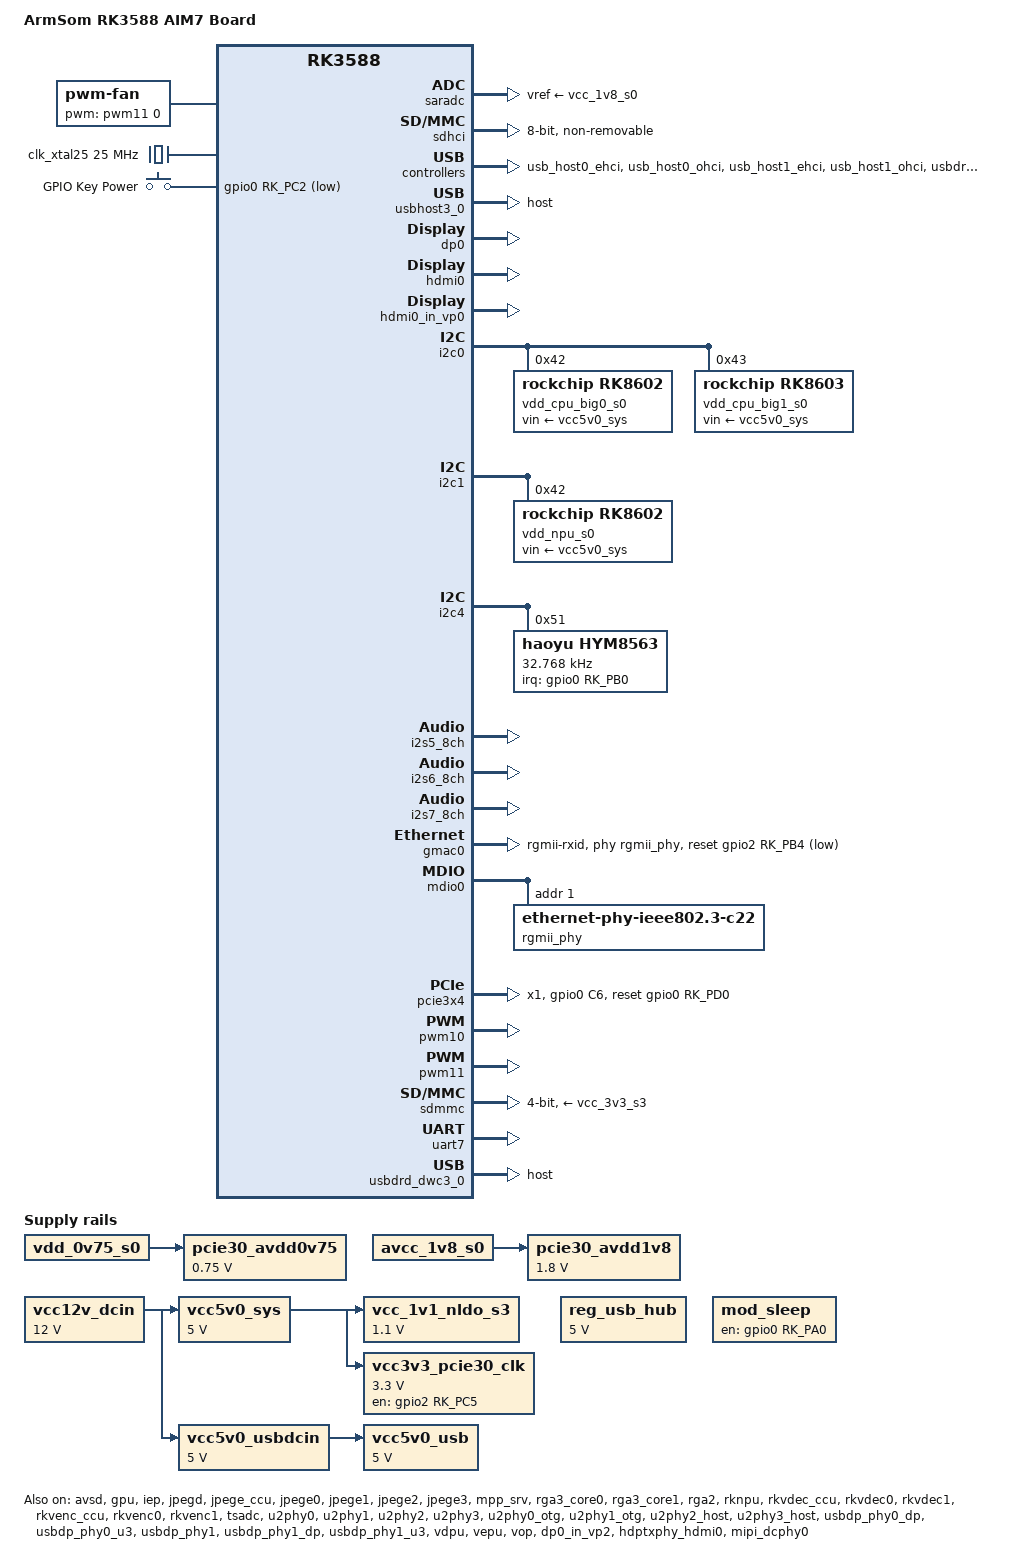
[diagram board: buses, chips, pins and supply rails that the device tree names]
// SPDX-License-Identifier: (GPL-2.0+ OR MIT)
/*
 * Copyright (c) 2023 Rockchip Electronics Co., Ltd.
 * Copyright (c) 2023 Rockchip rk3588-evb7-v11, Lhd.
 */

/dts-v1/;

#include <dt-bindings/gpio/gpio.h>
#include <dt-bindings/leds/common.h>
#include <dt-bindings/pwm/pwm.h>
#include <dt-bindings/pinctrl/rockchip.h>
#include <dt-bindings/input/rk-input.h>
#include <dt-bindings/display/drm_mipi_dsi.h>
#include <dt-bindings/display/rockchip_vop.h>
#include <dt-bindings/sensor-dev.h>
#include "dt-bindings/usb/pd.h"
#include "rk3588.dtsi"
#include "rk3588-rk806-single.dtsi"
#include "rk3588-armsom-aim7-camera.dtsi"
#include "rk3588-linux.dtsi"

/ {
	model = "ArmSom RK3588 AIM7 Board";
	compatible = "rockchip,rk3588-AIM7", "rockchip,rk3588";

	/delete-node/ chosen;
	vcc12v_dcin: vcc12v-dcin {
		compatible = "regulator-fixed";
		regulator-name = "vcc12v_dcin";
		regulator-always-on;
		regulator-boot-on;
		regulator-min-microvolt = <12000000>;
		regulator-max-microvolt = <12000000>;
	};

	vcc5v0_sys: vcc5v0-sys {
		compatible = "regulator-fixed";
		regulator-name = "vcc5v0_sys";
		regulator-always-on;
		regulator-boot-on;
		regulator-min-microvolt = <5000000>;
		regulator-max-microvolt = <5000000>;
		vin-supply = <&vcc12v_dcin>;
	};

	vcc5v0_usbdcin: vcc5v0-usbdcin {
		compatible = "regulator-fixed";
		regulator-name = "vcc5v0_usbdcin";
		regulator-always-on;
		regulator-boot-on;
		regulator-min-microvolt = <5000000>;
		regulator-max-microvolt = <5000000>;
		vin-supply = <&vcc12v_dcin>;
	};

	vcc5v0_usb: vcc5v0-usb {
		compatible = "regulator-fixed";
		regulator-name = "vcc5v0_usb";
		regulator-always-on;
		regulator-boot-on;
		regulator-min-microvolt = <5000000>;
		regulator-max-microvolt = <5000000>;
		vin-supply = <&vcc5v0_usbdcin>;
	};

		/* If hdmirx node is disabled, delete the reserved-memory node here. */
	reserved-memory {
		#address-cells = <2>;
		#size-cells = <2>;
		ranges;

		/* Reserve 128MB memory for hdmirx-controller@fdee0000 */
		cma {
			compatible = "shared-dma-pool";
			reusable;
			reg = <0x0 (256 * 0x100000) 0x0 (128 * 0x100000)>;
			linux,cma-default;
		};
	};


	fan: pwm-fan {
		compatible = "pwm-fan";
		#cooling-cells = <2>;
		pwms = <&pwm11 0 50000 0>;
		cooling-levels = <0 50 100 150 200 255>;
		rockchip,temp-trips = <
			50000	1
			55000	2
			60000	3
			65000	4
			70000	5
		>;
	};

	hdmi0_sound: hdmi0-sound {
		status = "okay";
		compatible = "rockchip,hdmi";
		rockchip,mclk-fs = <128>;
		rockchip,card-name = "rockchip-hdmi0";
		rockchip,cpu = <&i2s5_8ch>;
		rockchip,codec = <&hdmi0>;
		rockchip,jack-det;
	};

	dp0_sound: dp0-sound {
		status = "disabled";
		compatible = "rockchip,hdmi";
		rockchip,card-name= "rockchip-dp0";
		rockchip,mclk-fs = <512>;
		rockchip,cpu = <&spdif_tx2>;
		rockchip,codec = <&dp0 1>;
		rockchip,jack-det;
	};

	// leds: leds {
	// 	compatible = "gpio-leds";
	// 	work_led: work {
	// 		label = "red";
	// 		gpios = <&gpio4 RK_PC5 GPIO_ACTIVE_HIGH>;
	// 		linux,default-trigger = "heartbeat";
	// 	};

	// 	active_led: active {
	// 		label = "green";
	// 		gpios = <&gpio0 RK_PB7 GPIO_ACTIVE_HIGH>;
	// 		linux,default-trigger = "none";
	// 	};
	// };

    // es8316_sound: es8316-sound {
	// 	status = "okay";
	// 	compatible = "simple-audio-card";
	// 	simple-audio-card,format = "i2s";
	// 	simple-audio-card,mclk-fs = <256>;
	// 	simple-audio-card,name = "rockchip-es8316";
	// 	simple-audio-card,dai-link@0 {
	// 		format = "i2s";
	// 		cpu {
	// 			sound-dai = <&i2s0_8ch>;
	// 		};
	// 		codec {
	// 			sound-dai = <&es8316>;
	// 		};
	// 	};
	// };



	pcie30_avdd0v75: pcie30-avdd0v75 {
		compatible = "regulator-fixed";
		regulator-name = "pcie30_avdd0v75";
		regulator-boot-on;
		regulator-always-on;
		regulator-min-microvolt = <750000>;
		regulator-max-microvolt = <750000>;
		vin-supply = <&vdd_0v75_s0>;
	};

	pcie30_avdd1v8: pcie30-avdd1v8 {
		compatible = "regulator-fixed";
		regulator-name = "pcie30_avdd1v8";
		regulator-boot-on;
		regulator-always-on;
		regulator-min-microvolt = <1800000>;
		regulator-max-microvolt = <1800000>;
		vin-supply = <&avcc_1v8_s0>;
	};

	vcc_1v1_nldo_s3: vcc-1v1-nldo-s3 {
		compatible = "regulator-fixed";
		regulator-name = "vcc_1v1_nldo_s3";
		regulator-always-on;
		regulator-boot-on;
		regulator-min-microvolt = <1100000>;
		regulator-max-microvolt = <1100000>;
		vin-supply = <&vcc5v0_sys>;
	};

	// vbus5v0_typec: vbus5v0-typec {
	// 	compatible = "regulator-fixed";
	// 	regulator-name = "vbus5v0_typec";
	// 	regulator-min-microvolt = <5000000>;
	// 	regulator-max-microvolt = <5000000>;
	// 	enable-active-high;
	// 	gpio = <&gpio2 RK_PB6 GPIO_ACTIVE_HIGH>;
	// 	vin-supply = <&vcc5v0_sys>;
	// 	pinctrl-names = "default";
	// 	pinctrl-0 = <&typec5v_pwren>;
	// };

	vcc3v3_pcie30_clk: vcc3v3-pcie30 {
		compatible = "regulator-fixed";
		regulator-name = "vcc3v3_pcie30_clk";
		regulator-min-microvolt = <3300000>;
		regulator-max-microvolt = <3300000>;
		regulator-always-on;
		regulator-boot-on;
		enable-active-high;
		gpios = <&gpio2 RK_PC5 GPIO_ACTIVE_HIGH>;
		vin-supply = <&vcc5v0_sys>;
		pinctrl-names = "default";
		pinctrl-0 = <&vcc3v3_pcie30_clk_en>;
	};

	reg_usb_hub: regulator-usb-hub {
		compatible = "regulator-fixed";
		// pinctrl-names = "default";
		// pinctrl-0 = <&pinctrl_reg_usb_hub>;
		regulator-name = "USB_HUB";
		regulator-min-microvolt = <5000000>;
		regulator-max-microvolt = <5000000>;
		//gpio = <&gpio4 26 GPIO_ACTIVE_HIGH>;
		enable-active-high;
	};

	clk_xtal25: clk-xtal25 {
		compatible = "fixed-clock";
		#clock-cells = <0>;
		clock-frequency = <25000000>;
	};

		gpio-keys {
		compatible = "gpio-keys";
		#address-cells = <1>;
		#size-cells = <0>;
		autorepeat;

		pinctrl-names = "default";
		pinctrl-0 = <&pwrbtn>;

		button@0 {
			gpios = <&gpio0 RK_PC2 GPIO_ACTIVE_LOW>;
			linux,code = <KEY_POWER>;
			label = "GPIO Key Power";
			linux,input-type = <1>;
			gpio-key,wakeup = <1>;
			debounce-interval = <100>;
		};
	};

	mod_sleep: mod_sleep {   
		status = "okay";
		compatible = "regulator-fixed";
		regulator-name = "mod_sleep";
		pinctrl-names = "default";
	 	pinctrl-0 = <&mod_sleep_h>;
		gpio = <&gpio0 RK_PA0 GPIO_ACTIVE_HIGH>;
		regulator-always-on;
		regulator-boot-on;
		enable-active-high;
		regulator-state-mem {
			regulator-off-in-suspend;
		};
	};

};

//=============================================================

&av1d_mmu {
	status = "okay";
};

&avsd {
	status = "okay";
};

&cpu_l0 {
	cpu-supply = <&vdd_cpu_lit_s0>;
	mem-supply = <&vdd_cpu_lit_mem_s0>;
};

&cpu_b0 {
	cpu-supply = <&vdd_cpu_big0_s0>;
	mem-supply = <&vdd_cpu_big0_mem_s0>;
};

&cpu_b2 {
	cpu-supply = <&vdd_cpu_big1_s0>;
	mem-supply = <&vdd_cpu_big1_mem_s0>;
};


&gpu {
	mali-supply = <&vdd_gpu_s0>;
	mem-supply = <&vdd_gpu_mem_s0>;
	status = "okay";
};

// &i2s0_8ch {
// 	status = "okay";
// 	pinctrl-0 = <&i2s0_lrck
// 		     &i2s0_sclk
// 		     &i2s0_sdi0
// 		     &i2s0_sdo0>;
// };

&i2s2_2ch {
	pinctrl-0 = <&i2s2m1_lrck &i2s2m1_sclk &i2s2m1_sdi &i2s2m1_sdo>;
	rockchip,bclk-fs = <32>;
	status = "disabled";
};

&iep {
	status = "okay";
};

&iep_mmu {
	status = "okay";
};

&jpegd {
	status = "okay";
};

&jpegd_mmu {
	status = "okay";
};

&jpege_ccu {
	status = "okay";
};

&jpege0 {
	status = "okay";
};

&jpege0_mmu {
	status = "okay";
};

&jpege1 {
	status = "okay";
};

&jpege1_mmu {
	status = "okay";
};

&jpege2 {
	status = "okay";
};

&jpege2_mmu {
	status = "okay";
};

&jpege3 {
	status = "okay";
};

&jpege3_mmu {
	status = "okay";
};

&mpp_srv {
	status = "okay";
};

&rga3_core0 {
	status = "okay";
};

&rga3_0_mmu {
	status = "okay";
};

&rga3_core1 {
	status = "okay";
};

&rga3_1_mmu {
	status = "okay";
};

&rga2 {
	status = "okay";
};

&rknpu {
	rknpu-supply = <&vdd_npu_s0>;
	mem-supply = <&vdd_npu_mem_s0>;
	status = "okay";
};

&rknpu_mmu {
	status = "okay";
};

&rkvdec_ccu {
	status = "okay";
};

&rkvdec0 {
	status = "okay";
};

&rkvdec0_mmu {
	status = "okay";
};

&rkvdec1 {
	status = "okay";
};

&rkvdec1_mmu {
	status = "okay";
};

&rkvenc_ccu {
	status = "okay";
};

&rkvenc0 {
	venc-supply = <&vdd_vdenc_s0>;
	mem-supply = <&vdd_vdenc_mem_s0>;
	status = "okay";
};

&rkvenc0_mmu {
	status = "okay";
};

&rkvenc1 {
	venc-supply = <&vdd_vdenc_s0>;
	mem-supply = <&vdd_vdenc_mem_s0>;
	status = "okay";
};

&rkvenc1_mmu {
	status = "okay";
};

&rockchip_suspend {
	status = "okay";
	rockchip,sleep-debug-en = <1>;
};

&saradc {
	status = "okay";
	vref-supply = <&vcc_1v8_s0>;
};

&sdhci {
	bus-width = <8>;
	no-sdio;
	no-sd;
	non-removable;
	max-frequency = <200000000>;
	mmc-hs400-1_8v;
	mmc-hs400-enhanced-strobe;
	full-pwr-cycle-in-suspend;
	status = "okay";
};

&tsadc {
	status = "okay";
};

&u2phy0 {
	status = "okay";
};

&u2phy1 {
	status = "okay";
};

&u2phy2 {
	status = "okay";
};

&u2phy3 {
	status = "okay";
};

&u2phy0_otg {
	status = "okay";
};

&u2phy1_otg {
	status = "okay";
};

&u2phy2_host {
	status = "okay";
};

&u2phy3_host {
	status = "okay";
};

&usb_host0_ehci {
	status = "okay";
};

&usb_host0_ohci {
	status = "okay";
};

&usb_host1_ehci {
	status = "okay";
};

&usb_host1_ohci {
	status = "okay";
};

&usbdp_phy0_dp {
	status = "okay";
};

&usbdp_phy0_u3 {
	status = "okay";
};

&usbdp_phy1 {
	status = "okay";
};

&usbdp_phy1_dp {
	status = "okay";
};

&usbdp_phy1_u3 {
	status = "okay";
};

&usbdrd3_0 {
	status = "okay";
};

&usbhost3_0 {
	status = "okay";
};

&usbhost_dwc3_0 {
	status = "okay";
};

&usbdrd3_1 {
	status = "okay";
};

&usbdrd_dwc3_1 {
	status = "okay";
};

&vdpu {
	status = "okay";
};

&vdpu_mmu {
	status = "okay";
};

&vepu {
	status = "okay";
};

&vop {
	status = "okay";
};

&vop_mmu {
	status = "okay";
};

/* vp0 & vp1 splice for 8K output */
&vp0 {
	rockchip,plane-mask = <(1 << ROCKCHIP_VOP2_CLUSTER0 | 1 << ROCKCHIP_VOP2_ESMART0)>;
	rockchip,primary-plane = <ROCKCHIP_VOP2_ESMART0>;
};

&vp1 {
	rockchip,plane-mask = <(1 << ROCKCHIP_VOP2_CLUSTER1 | 1 << ROCKCHIP_VOP2_ESMART1)>;
	rockchip,primary-plane = <ROCKCHIP_VOP2_ESMART1>;
};

&vp2 {
	rockchip,plane-mask = <(1 << ROCKCHIP_VOP2_CLUSTER2 | 1 << ROCKCHIP_VOP2_ESMART2)>;
	rockchip,primary-plane = <ROCKCHIP_VOP2_ESMART2>;
};

&vp3 {
	rockchip,plane-mask = <(1 << ROCKCHIP_VOP2_CLUSTER3 | 1 << ROCKCHIP_VOP2_ESMART3)>;
	rockchip,primary-plane = <ROCKCHIP_VOP2_ESMART3>;
};

//=============================================================

// &dp0 {
// 	status = "disabled";
// };
&dp0 {
	pinctrl-names = "default";
	pinctrl-0 = <&dp0m2_pins>;
	status = "okay";
};
&dp0_in_vp2 {
	status = "okay";
};

&dp0_sound{
	status = "okay";
};

&route_dp0 {
	status = "disabled";
	connect = <&vp2_out_dp0>;
};



&hdmi0 {
	status = "okay";
};

&hdmi0_in_vp0 {
	status = "okay";
};

&hdmi0_sound {
	status = "okay";
};

&hdptxphy_hdmi0 {
	status = "okay";
};

&hdptxphy_hdmi1 {
	status = "disabled";
};

&i2c0 {
	status = "okay";
	pinctrl-names = "default";
	pinctrl-0 = <&i2c0m2_xfer>;

	vdd_cpu_big0_s0: vdd_cpu_big0_mem_s0: rk8602@42 {
		compatible = "rockchip,rk8602";
		reg = <0x42>;
		vin-supply = <&vcc5v0_sys>;
		regulator-compatible = "rk860x-reg";
		regulator-name = "vdd_cpu_big0_s0";
		regulator-min-microvolt = <550000>;
		regulator-max-microvolt = <1050000>;
		regulator-ramp-delay = <2300>;
		rockchip,suspend-voltage-selector = <1>;
		regulator-boot-on;
		regulator-always-on;
		regulator-state-mem {
			regulator-off-in-suspend;
		};
	};

	vdd_cpu_big1_s0: vdd_cpu_big1_mem_s0: rk8603@43 {
		compatible = "rockchip,rk8603";
		reg = <0x43>;
		vin-supply = <&vcc5v0_sys>;
		regulator-compatible = "rk860x-reg";
		regulator-name = "vdd_cpu_big1_s0";
		regulator-min-microvolt = <550000>;
		regulator-max-microvolt = <1050000>;
		regulator-ramp-delay = <2300>;
		rockchip,suspend-voltage-selector = <1>;
		regulator-boot-on;
		regulator-always-on;
		regulator-state-mem {
			regulator-off-in-suspend;
		};
	};
};

&i2c1 {
	status = "okay";
	pinctrl-names = "default";
	pinctrl-0 = <&i2c1m2_xfer>;

	vdd_npu_s0: vdd_npu_mem_s0: rk8602@42 {
		compatible = "rockchip,rk8602";
		reg = <0x42>;
		vin-supply = <&vcc5v0_sys>;
		regulator-compatible = "rk860x-reg";
		regulator-name = "vdd_npu_s0";
		regulator-min-microvolt = <550000>;
		regulator-max-microvolt = <950000>;
		regulator-ramp-delay = <2300>;
		rockchip,suspend-voltage-selector = <1>;
		regulator-boot-on;
		regulator-always-on;
		regulator-state-mem {
			regulator-off-in-suspend;
		};
	};
};

&i2c4 {//J49
	status = "okay";
	pinctrl-names = "default";
	pinctrl-0 = <&i2c4m2_xfer>;
	// #address-cells = <1>;
    // #size-cells = <0>;
	hym8563: hym8563@51 {
		compatible = "haoyu,hym8563";
		reg = <0x51>;
		#clock-cells = <0>;
		clock-frequency = <32768>;
		clock-output-names = "hym8563";
		pinctrl-names = "default";
		pinctrl-0 = <&hym8563_int>;
		interrupt-parent = <&gpio0>;
		interrupts = <RK_PB0 IRQ_TYPE_LEVEL_LOW>;
	};
};

&i2s5_8ch {
	status = "okay";
};

&i2s6_8ch {
	status = "okay";
};

&i2s7_8ch {
	status = "okay";
};

// &mdio1 {
// 	rgmii_phy: phy@1 {
// 		compatible = "ethernet-phy-ieee802.3-c22";
// 		reg = <0x1>;
// 	};
// };

&mipi_dcphy0 {
	status = "okay";
};

&mipi_dcphy1 {
	status = "disabled";
};

&gmac0 {
	/* Use rgmii-rxid mode to disable rx delay inside Soc */
	phy-mode = "rgmii-rxid";
	clock_in_out = "output";

	snps,reset-gpio = <&gpio2 RK_PB4 GPIO_ACTIVE_LOW>;
	snps,reset-active-low;
	/* Reset time is 20ms, 100ms for rtl8211f */
	snps,reset-delays-us = <0 20000 100000>;

	pinctrl-names = "default";
	pinctrl-0 = <&gmac0_miim
		     &gmac0_tx_bus2
		     &gmac0_rx_bus2
		     &gmac0_rgmii_clk
		     &gmac0_rgmii_bus>;

	tx_delay = <0x43>;
	/* rx_delay = <0x3f>; */

	phy-handle = <&rgmii_phy>;
	status = "okay";
};


&mdio0 {
	rgmii_phy: phy@1 {
		compatible = "ethernet-phy-ieee802.3-c22";
		reg = <0x1>;
	};
};

// &combphy0_ps {
// 	status = "okay";
// };

&combphy2_psu {
	status = "okay";
};

// &pcie2x1l2 {
//  	reset-gpios = <&gpio3 RK_PD1 GPIO_ACTIVE_HIGH>;
//  	rockchip,init-delay-ms = <100>;
//  	status = "okay";	
//  };

// &pcie2x1l0 {
// 	phys = <&pcie30phy>;
// 	vpcie3v3-supply = <&vcc3v3_pcie30>;
// 	status = "okay";
// };
// &pcie2x1l1 {
// 	phys = <&pcie30phy>;
// 	vpcie3v3-supply = <&vcc3v3_pcie30>;
// 	status = "okay";
// };

&pcie30phy {
 	rockchip,pcie30-phymode = <PHY_MODE_PCIE_NABIBI>;
 	status = "okay";
 };

//  //表示lane2/3
// &pcie3x2 {
// 	num-lanes = <1>;
// 	vpcie3v3-supply = <&vcc3v3_pcie30>;
// 	status = "okay";
// };
//表示lane0/1
&pcie3x4 {
	num-lanes = <1>;
	reset-gpios = <&gpio0 RK_PD0 GPIO_ACTIVE_HIGH>;
	pinctrl-names = "default";
 	pinctrl-0 = <&pcie30x4_clkreqn_m1>;
	status = "okay";
};

&pinctrl {
	pcie30x4 {
		pcie30x4_clkreqn_m1: pcie30x4-clkreqn-m1 {
			rockchip,pins = <0 RK_PC6 RK_FUNC_GPIO &pcfg_pull_down>;
		};
	};
	cam {
		mipicsi0_pwr: mipicsi0-pwr {
			rockchip,pins =
				/* camera power en */
				<1 RK_PD2 RK_FUNC_GPIO &pcfg_pull_none>;
		};
		mipicsi1_pwr: mipicsi1-pwr {
			rockchip,pins =
				/* camera power en */
				<1 RK_PD3 RK_FUNC_GPIO &pcfg_pull_none>;
		};
		mipidcphy0_pwr: mipidcphy0-pwr {
			rockchip,pins =
				/* camera power en */
				<2 RK_PC4 RK_FUNC_GPIO &pcfg_pull_none>;
		};
	};

	hym8563 {
		hym8563_int: hym8563-int {
			rockchip,pins = <0 RK_PB0 RK_FUNC_GPIO &pcfg_pull_up>;
		};
	};

	buttons {
		pwrbtn: pwrbtn {
			rockchip,pins = <0 RK_PC2 RK_FUNC_GPIO &pcfg_pull_up>;
		};
	};

	gpio {
		mod_sleep_h: mod-sleep-h {
			rockchip,pins = <0 RK_PA0 RK_FUNC_GPIO &pcfg_pull_none>;
		};
	};
	vcc3v3_pcie30_clk_en: vcc3v3-pcie30-clk-en {
		rockchip,pins = <2 RK_PC5 RK_FUNC_GPIO &pcfg_pull_none>;
	};
	// sdio-pwrseq {
	// 	wifi_enable_h: wifi-enable-h {
	// 		rockchip,pins = <0 RK_PC4 RK_FUNC_GPIO &pcfg_pull_none>;
	// 	};
	// };

	sdmmc {
		sd_s0_pwr: sd-s0-pwr {
			rockchip,pins = <0 RK_PB7 RK_FUNC_GPIO &pcfg_pull_up>;
		};
	};

	touch {
		touch_gpio: touch-gpio {
			rockchip,pins =
				<3 RK_PC1 RK_FUNC_GPIO &pcfg_pull_down>,
				<3 RK_PC0 RK_FUNC_GPIO &pcfg_pull_up>;
		};
	};

	usb-typec {
		usbc0_int: usbc0-int {
			rockchip,pins = <3 RK_PB4 RK_FUNC_GPIO &pcfg_pull_up>;
		};

		typec5v_pwren: typec5v-pwren {
			rockchip,pins = <2 RK_PB6 RK_FUNC_GPIO &pcfg_pull_none>;
		};
	};

	wireless-bluetooth {
		uart6_gpios: uart6-gpios {
			rockchip,pins = <1 RK_PA2 RK_FUNC_GPIO &pcfg_pull_none>;
		};
	};

	wireless-wlan {
		wifi_host_wake_irq: wifi-host-wake-irq {
			rockchip,pins = <0 RK_PB2 RK_FUNC_GPIO &pcfg_pull_down>;
		};
	};

};

&pwm10 {
	status = "okay";
};

&pwm11 {
	status = "okay";
};

&pwm3 {
	pinctrl-0 = <&pwm3m1_pins>;
	status = "disabled";
};

// &route_dsi0 {
// 	status = "disabled";
// 	connect = <&vp3_out_dsi0>;
// };

// &route_dsi1 {
// 	status = "disabled";
// 	connect = <&vp3_out_dsi1>;
// };

&route_hdmi0 {
	status = "okay";
};


// &leds {
// 	status = "okay";
// };


&sdhci {
	bus-width = <8>;
	no-sdio;
	no-sd;
	non-removable;
	max-frequency = <200000000>;
	mmc-hs400-1_8v;
	status = "okay";
};

// &sdio {
// 	max-frequency = <150000000>;
// 	supports-sdio;
// 	bus-width = <4>;
// 	disable-wp;
// 	cap-sd-highspeed;
// 	cap-sdio-irq;
// 	keep-power-in-suspend;
// 	mmc-pwrseq = <&sdio_pwrseq>;
// 	non-removable;
// 	num-slots = <1>;
// 	pinctrl-names = "default";
// 	pinctrl-0 = <&sdiom0_pins>;
// 	sd-uhs-sdr104;
// 	status = "okay";
// };

&sdmmc {
	max-frequency = <200000000>;
	no-sdio;
	no-mmc;
	bus-width = <4>;
	cap-mmc-highspeed;
	cap-sd-highspeed;
	disable-wp;
	sd-uhs-sdr104;
	vmmc-supply = <&vcc_3v3_s3>;
	vqmmc-supply = <&vccio_sd_s0>;
	pinctrl-names = "default";
	pinctrl-0 = <&sdmmc_bus4 &sdmmc_clk &sdmmc_cmd &sdmmc_det>;
	status = "okay";
};

// &uart1 {
// 	status = "okay";
// };

&uart6 {
	status = "disabled";
	pinctrl-names = "default";
	pinctrl-0 = <&uart6m1_xfer &uart6m1_ctsn>;
};

&uart7 {
	status = "okay";
};



&u2phy0 {
	status = "okay";
};

&u2phy0_otg {
	rockchip,typec-vbus-det;
	status = "okay";
};

&usbdp_phy0 {
	rockchip,dp-lane-mux = <0 1 2 3>;
	status = "okay";
};

&usbdrd_dwc3_0 {
	dr_mode = "host";
	maximum-speed = "high-speed";
	status = "okay";	
};

&usbhost3_0 {
	dr_mode = "host";
	status = "okay";
};
